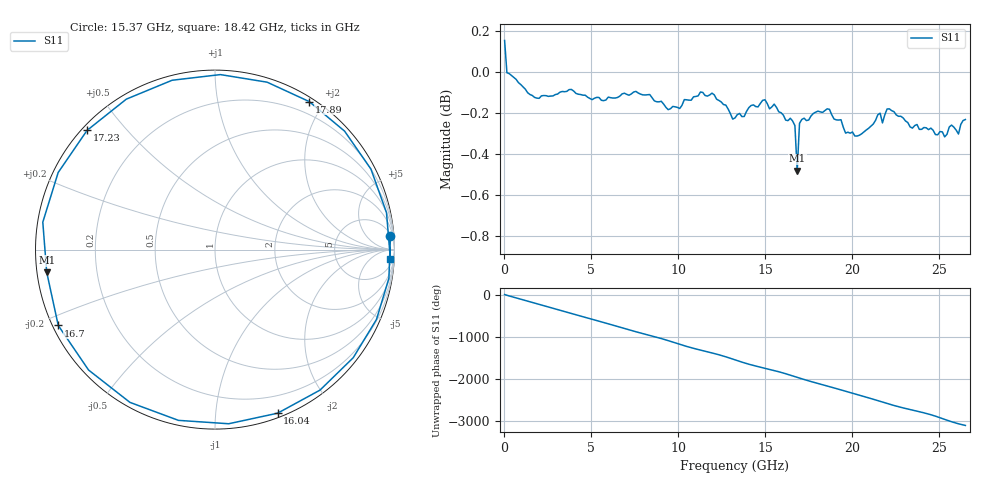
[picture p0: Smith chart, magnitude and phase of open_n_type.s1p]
#  HZ  S  DB  R  50.00
! Rohde & Schwarz Vector Network Analyzer
! Rohde-Schwarz,ZNA26-4Port,1332450024101475,2.90
! Created: UTC 5/23/2025, 8:18:14 PM
! freq[Hz]  db:S33  ang:S33
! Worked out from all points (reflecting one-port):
!   201 points, 10 MHz to 26.5 GHz, reference 50 ohm
!   lowest |S11| = -0.5 dB at 16.83 GHz (marker M1), VSWR 36.07, Z = 1.39 - j3.33 ohm
!   phase of S11 starts at 1 deg and turns -3119 deg over the sweep
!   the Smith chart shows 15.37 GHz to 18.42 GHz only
!   S11 on the Smith chart (normalised r, x): 15.37 GHz: 6, +24; 16.04 GHz: 0.04, -1.45; 16.7 GHz: 0.02, -0.23; 17.23 GHz: 0.02, +0.39; 17.89 GHz: 0.05, +1.82; 18.42 GHz: 13, -32
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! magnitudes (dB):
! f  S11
! 10 MHz  0.2
! 142.4 MHz  0.0
! 1.335 GHz  -0.1
! 3.321 GHz  -0.1
! 6.633 GHz  -0.1
! 9.944 GHz  -0.2
! 11.93 GHz  -0.1
! 13.26 GHz  -0.2
! 14.84 GHz  -0.1
! 15.37 GHz  -0.2
! 16.04 GHz  -0.2
! 16.57 GHz  -0.2
! 16.7 GHz  -0.3
! 16.83 GHz  -0.5
! 16.96 GHz  -0.3
! 17.23 GHz  -0.2
! 17.89 GHz  -0.2
! 18.42 GHz  -0.2
! 19.88 GHz  -0.3
! 20.54 GHz  -0.3
! 21.6 GHz  -0.2
! 21.73 GHz  -0.2
! 22 GHz  -0.2
! 23.19 GHz  -0.2
! 25.31 GHz  -0.3
! 25.71 GHz  -0.3
! 26.1 GHz  -0.3
! 26.5 GHz  -0.2
